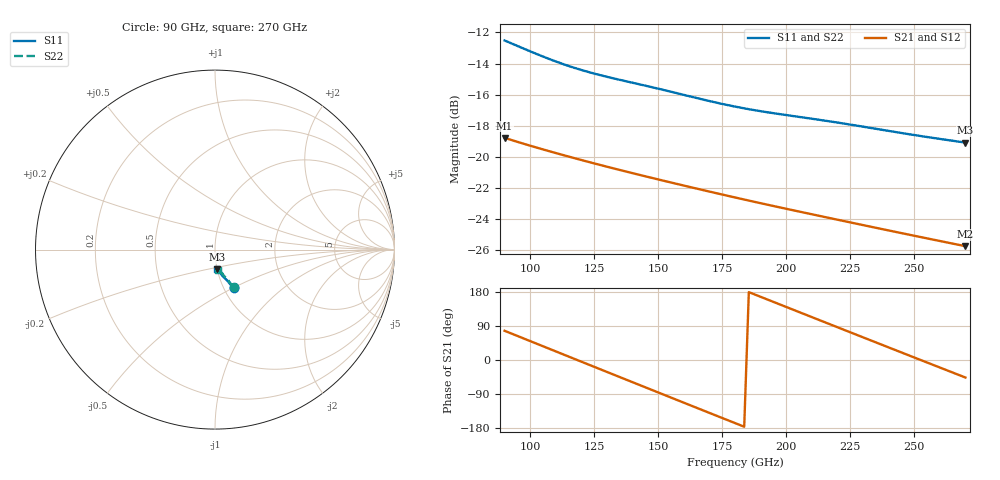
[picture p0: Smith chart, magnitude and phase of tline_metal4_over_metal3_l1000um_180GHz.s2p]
#  GHZ S DB R 50
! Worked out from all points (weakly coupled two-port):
!   101 points, 90 GHz to 270 GHz, reference 50 ohm
!   highest |S21| = -18.79 dB at 90 GHz (marker M1); lowest = -25.8 dB at 270 GHz (marker M2)
!   lowest |S11| = -19.1 dB at 270 GHz (marker M3), VSWR 1.25, Z = 49.7 - j11.1 ohm
!   |S11| at or under -10 dB: start of sweep to end of sweep
!   |S22| runs from -18.9 to -12.7 dB; largest |S21 - S12| = 1.9e-14
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90  -12.51 -63.3  -18.79 77.1  -18.79 77.1  -12.68 -62.7
99  -13.15 -65.3  -19.25 52.6  -19.25 52.6  -13.32 -64.5
106.2  -13.63 -66.5  -19.59 33.0  -19.59 33.0  -13.81 -65.6
113.4  -14.07 -67.4  -19.92 13.5  -19.92 13.5  -14.25 -66.2
120.6  -14.45 -68.1  -20.24 -6.1  -20.24 -6.1  -14.63 -66.8
127.8  -14.77 -68.8  -20.56 -25.6  -20.56 -25.6  -14.95 -67.3
136.8  -15.12 -69.9  -20.93 -50.0  -20.93 -50.0  -15.30 -68.2
144  -15.39 -70.9  -21.23 -69.4  -21.23 -69.4  -15.57 -69.0
151.2  -15.67 -72.0  -21.52 -88.9  -21.52 -88.9  -15.85 -69.9
158.4  -15.96 -73.0  -21.80 -108.3  -21.80 -108.3  -16.13 -70.8
167.4  -16.32 -74.1  -22.15 -132.6  -22.15 -132.6  -16.48 -71.6
180  -16.77 -75.3  -22.63 -166.4  -22.63 -166.4  -16.92 -72.4
187.2  -16.99 -75.8  -22.90 174.3  -22.90 174.3  -17.12 -72.8
194.4  -17.18 -76.5  -23.16 155.0  -23.16 155.0  -17.29 -73.3
203.4  -17.40 -77.4  -23.48 130.9  -23.48 130.9  -17.49 -74.0
210.6  -17.57 -78.3  -23.73 111.6  -23.73 111.6  -17.64 -74.8
217.8  -17.75 -79.2  -23.99 92.4  -23.99 92.4  -17.80 -75.6
225  -17.93 -80.2  -24.24 73.2  -24.24 73.2  -17.96 -76.4
234  -18.18 -81.3  -24.55 49.2  -24.55 49.2  -18.17 -77.3
241.2  -18.37 -82.1  -24.80 30.1  -24.80 30.1  -18.34 -78.0
255.6  -18.75 -83.6  -25.29 -8.1  -25.29 -8.1  -18.64 -79.3
270  -19.09 -85.0  -25.77 -46.2  -25.77 -46.2  -18.93 -80.7
